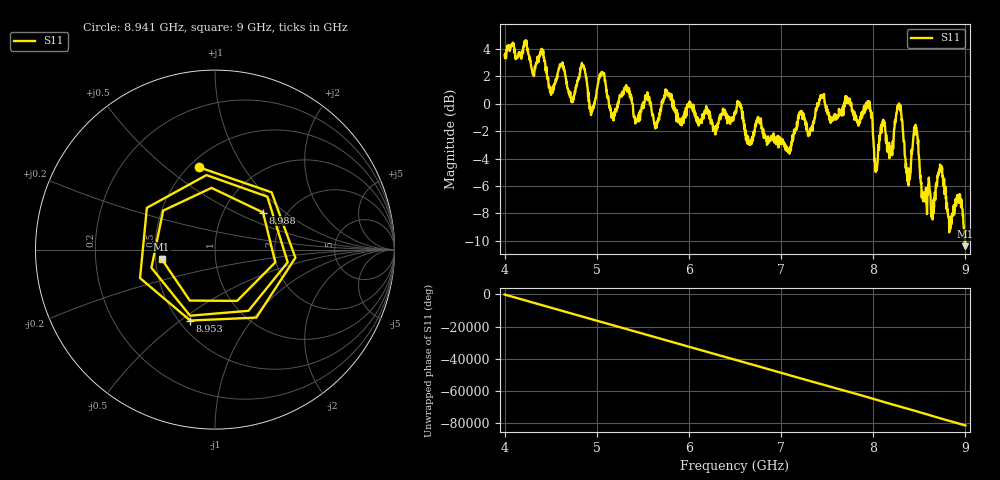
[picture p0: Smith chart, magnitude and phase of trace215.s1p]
! Created with skrf 1.8.0 (http://scikit-rf.org).
# Hz S RI R 50.0
!freq ReS11 ImS11
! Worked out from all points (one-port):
!   1601 points, 4 GHz to 9 GHz, reference 50 ohm
!   lowest |S11| = -10.4 dB at 9 GHz (marker M1), VSWR 1.86, Z = 27 - j3.12 ohm
!   |S11| at or under -10 dB: 8.993506 GHz to 8.996716 GHz (3.209 MHz wide, 0.0357 % of centre); 8.997106 GHz to end of sweep
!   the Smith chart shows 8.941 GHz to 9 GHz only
!   S11 on the Smith chart (normalised r, x): 8.941 GHz: 0.56, +0.66; 8.953 GHz: 0.57, -0.54; 8.988 GHz: 1.53, +0.71; 9 GHz: 0.54, -0.06
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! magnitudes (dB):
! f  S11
! 4 GHz  3.5
! 4.403 GHz  3.8
! 4.503 GHz  0.6
! 4.625 GHz  2.9
! 4.731 GHz  0.1
! 4.847 GHz  2.8
! 4.944 GHz  -0.4
! 5.056 GHz  2.2
! 5.162 GHz  -1.0
! 5.25 GHz  0.6
! 5.875 GHz  -0.8
! 6.5 GHz  -0.8
! 7.125 GHz  -2.3
! 7.441 GHz  0.6
! 7.75 GHz  0.2
! 7.956 GHz  -0.3
! 8.031 GHz  -4.7
! 8.281 GHz  0.0
! 8.375 GHz  -5.5
! 8.462 GHz  -1.9
! 8.559 GHz  -7.1
! 8.65 GHz  -7.7
! 8.728 GHz  -4.6
! 8.828 GHz  -8.7
! 8.941 GHz  -6.6
! 8.953 GHz  -7.6
! 8.988 GHz  -9.4
! 9 GHz  -10.4
